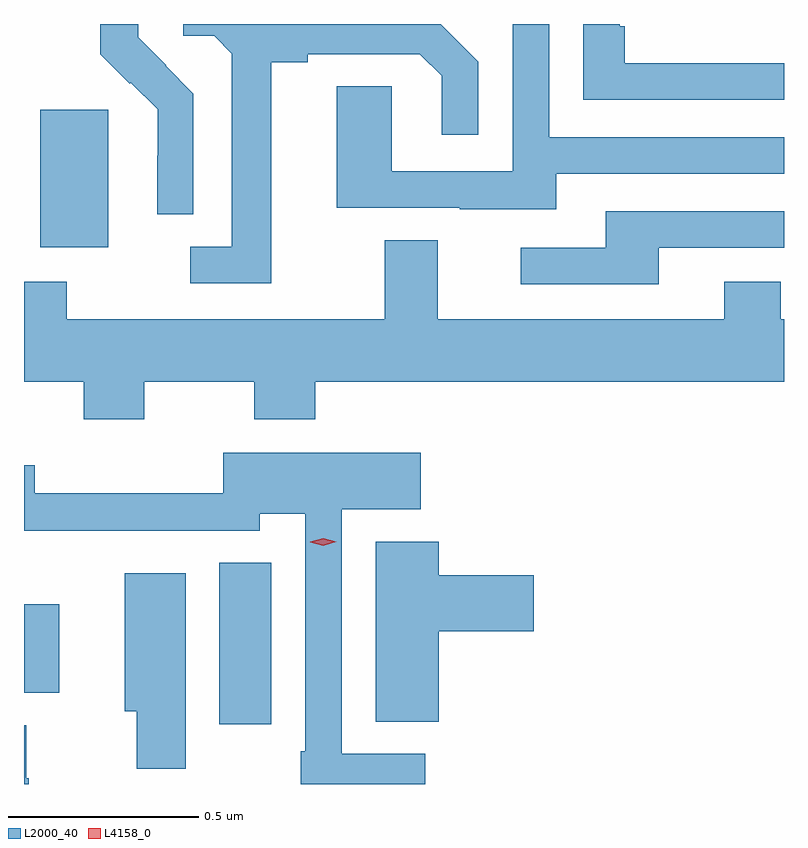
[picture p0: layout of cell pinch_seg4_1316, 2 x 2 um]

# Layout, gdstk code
import gdstk
lib = gdstk.Library(unit=1e-6, precision=1e-09)
def R(c, l, rs):  # rectangles x0, y0, x1, y1
    for r in rs: c.add(gdstk.rectangle(r[:2], r[2:], *l))
def P(c, l, *ps):  # polygons
    for p in ps: c.add(gdstk.Polygon(p, *l))
L2000_40 = (2000, 40)
L4158_0 = (4158, 0)

pinch_seg4_1316 = lib.new_cell('pinch_seg4_1316')
R(pinch_seg4_1316, L2000_40, [(278.126,773.274,278.263,773.699), (277.612,773.357,277.705,773.59), (277.655,774.53,277.834,774.891)])
P(pinch_seg4_1316, L2000_40, [(279.013,774.723),(279.612,774.723),(279.612,774.819),(278.994,774.819),(278.994,775.117),(278.898,775.117),(278.898,774.729),(278.58,774.729),(278.58,774.953),(278.435,774.953),(278.435,774.633),(278.759,774.633),(278.759,774.629),(279.013,774.629)],
  [(279.612,775.014),(279.193,775.014),(279.193,775.111),(279.18,775.111),(279.18,775.117),(279.084,775.117),(279.084,774.918),(279.612,774.918)],
  [(278.263,775.016),(278.359,775.016),(278.359,775.038),(278.654,775.038),(278.711,774.981),(278.711,774.825),(278.808,774.825),(278.808,775.018),(278.709,775.117),(278.031,775.117),(278.031,775.086),(278.112,775.086),(278.159,775.039),(278.159,774.531),(278.049,774.531),(278.049,774.435),(278.263,774.435)],
  [(278.058,774.934),(277.985,775.007),(277.986,775.008),(277.912,775.082),(277.912,775.117),(277.813,775.117),(277.813,775.037),(277.89,774.96),(277.893,774.963),(277.964,774.893),(277.964,774.77),(277.962,774.77),(277.962,774.616),(278.058,774.616)],
  [(279.283,774.528),(279.612,774.528),(279.612,774.624),(279.143,774.624),(279.143,774.528),(278.919,774.528),(278.919,774.432),(279.283,774.432)],
  [(277.929,774.176),(278.218,774.176),(278.218,774.077),(278.378,774.077),(278.378,774.176),(279.612,774.176),(279.612,774.34),(279.603,774.34),(279.603,774.439),(279.455,774.439),(279.455,774.34),(278.701,774.34),(278.701,774.548),(278.561,774.548),(278.561,774.34),(277.725,774.34),(277.725,774.439),(277.612,774.439),(277.612,774.176),(277.769,774.176),(277.769,774.077),(277.929,774.077)],
  [(278.668,773.196),(278.448,773.196),(278.448,773.84),(278.656,773.84),(278.656,773.989),(278.136,773.989),(278.136,773.882),(277.64,773.882),(277.64,773.956),(277.612,773.956),(277.612,773.783),(277.781,773.783),(277.781,773.784),(278.232,773.784),(278.232,773.828),(278.352,773.828),(278.352,773.203),(278.34,773.203),(278.34,773.117),(278.668,773.117)],
  [(278.704,773.519),(278.953,773.519),(278.953,773.666),(278.704,773.666),(278.704,773.755),(278.537,773.755),(278.537,773.281),(278.704,773.281)],
  [(278.038,773.671),(277.877,773.671),(277.877,773.309),(277.909,773.309),(277.909,773.157),(278.038,773.157)],
  [(277.625,773.132),(277.618,773.132),(277.618,773.272),(277.612,773.272),(277.612,773.117),(277.625,773.117)])
P(pinch_seg4_1316, L4158_0, [(278.399,773.744),(278.365,773.753),(278.365,773.753),(278.365,773.754),(278.399,773.764),(278.434,773.755),(278.434,773.755),(278.434,773.754)])

lib.write_gds('pinch_seg4_1316.gds')
